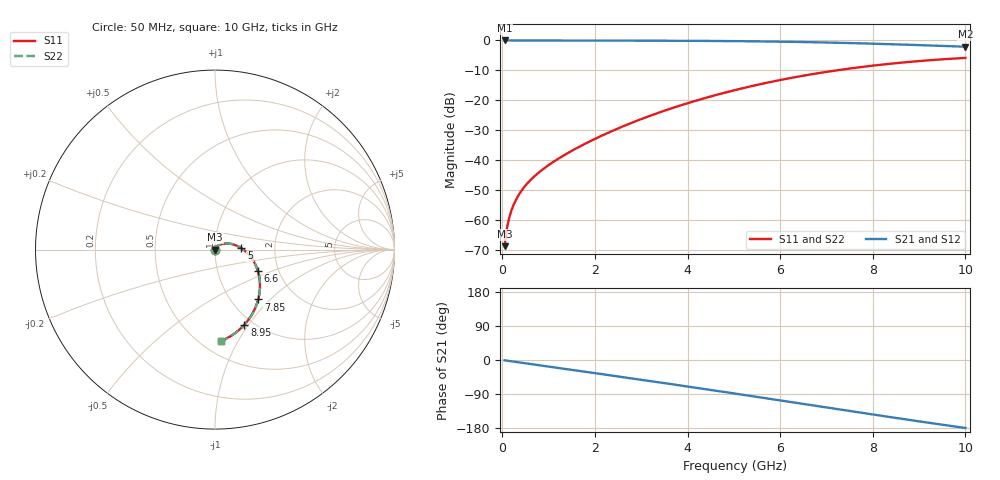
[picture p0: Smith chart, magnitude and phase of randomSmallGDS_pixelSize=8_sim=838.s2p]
! freq	dB(S11)	phase(S11)	dB(S12)	phase(S12)
!  dB(S21)	phase(S21)	dB(S22)	phase(S22)
!S-par simulation data
#  GHz  S  DB  R 50
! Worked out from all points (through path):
!   200 points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, 50 MHz to 10 GHz, reference 50 ohm
!   highest |S21| = 0.00 dB at 50 MHz (marker M1); lowest = -2.1 dB at 10 GHz (marker M2)
!   group delay of S21, straight-line fit = 50.3 ps
!   lowest |S11| = -68.7 dB at 50 MHz (marker M3), VSWR 1.00, Z = 50 + j0.0364 ohm
!   |S11| at or under -10 dB: start of sweep to 7.215 GHz
!   |S22| runs from -68.7 to -5.8 dB; largest |S21 - S12| = 0
!   S11 on the Smith chart (normalised r, x): 50 MHz: 1.00, +0.00; 5 GHz: 1.34, +0.02; 6.6 GHz: 1.56, -0.40; 7.85 GHz: 1.32, -0.85; 8.95 GHz: 0.91, -0.96; 10 GHz: 0.62, -0.85
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0.05  -68.73 83.9  -0.00 -0.9  -0.00 -0.9  -68.73 83.9
0.1  -62.73 85.7  -0.00 -1.7  -0.00 -1.7  -62.73 85.7
0.15  -59.20 85.8  -0.00 -2.6  -0.00 -2.6  -59.20 85.8
0.2  -56.68 85.4  -0.00 -3.5  -0.00 -3.5  -56.68 85.4
0.3  -53.10 84.2  -0.00 -5.2  -0.00 -5.2  -53.10 84.2
0.45  -49.46 82.0  -0.01 -7.8  -0.01 -7.8  -49.45 82.1
0.65  -46.01 79.0  -0.01 -11.3  -0.01 -11.3  -46.01 79.0
0.95  -42.19 74.3  -0.02 -16.5  -0.02 -16.5  -42.19 74.4
1.3  -38.66 68.7  -0.03 -22.5  -0.03 -22.5  -38.66 68.8
1.75  -34.81 61.3  -0.04 -30.3  -0.04 -30.3  -34.81 61.4
2.55  -29.06 47.5  -0.05 -44.2  -0.05 -44.2  -29.06 47.6
3.4  -24.01 32.3  -0.09 -59.2  -0.09 -59.2  -24.01 32.4
4.2  -20.04 17.8  -0.14 -73.6  -0.14 -73.6  -20.04 17.9
5  -16.68 3.2  -0.22 -88.1  -0.22 -88.1  -16.67 3.3
5.05  -16.48 2.3  -0.23 -89.0  -0.23 -89.0  -16.48 2.4
5.8  -13.85 -11.5  -0.36 -102.9  -0.36 -102.9  -13.85 -11.4
6.6  -11.51 -26.3  -0.56 -117.8  -0.56 -117.8  -11.51 -26.2
6.7  -11.24 -28.1  -0.59 -119.6  -0.59 -119.6  -11.24 -28.0
7.85  -8.69 -49.1  -1.01 -141.0  -1.01 -141.0  -8.69 -49.0
8.35  -7.82 -58.1  -1.23 -150.2  -1.23 -150.2  -7.82 -58.0
8.95  -6.95 -68.6  -1.53 -161.0  -1.53 -161.0  -6.95 -68.5
10  -5.83 -86.4  -2.09 -179.5  -2.09 -179.5  -5.83 -86.3
